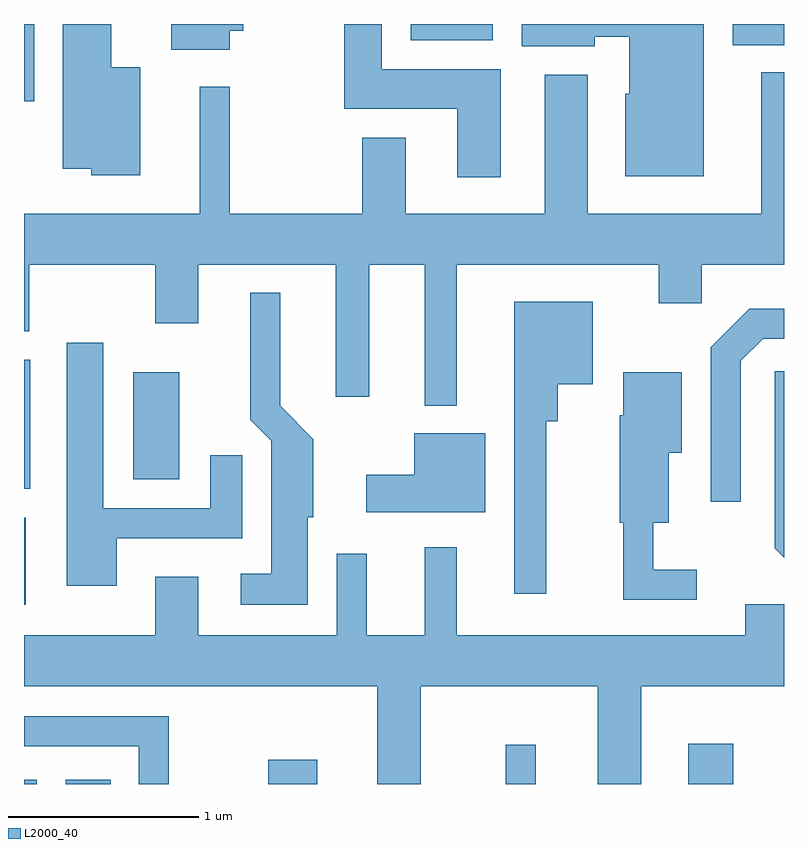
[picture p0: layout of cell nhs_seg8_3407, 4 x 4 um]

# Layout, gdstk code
import gdstk
lib = gdstk.Library(unit=1e-6, precision=1e-09)
def R(c, l, rs):  # rectangles x0, y0, x1, y1
    for r in rs: c.add(gdstk.rectangle(r[:2], r[2:], *l))
def P(c, l, *ps):  # polygons
    for p in ps: c.add(gdstk.Polygon(p, *l))
L2000_40 = (2000, 40)

nhs_seg8_3407 = lib.new_cell('nhs_seg8_3407')
R(nhs_seg8_3407, L2000_40, [(287.611,1840.342,287.679,1840.364), (287.831,1840.342,288.068,1840.364), (288.896,1840.342,289.154,1840.469), (290.146,1840.342,290.304,1840.548), (291.106,1840.342,291.344,1840.554), (287.611,1841.286,287.619,1841.744), (287.611,1841.896,287.644,1842.574), (288.186,1841.946,288.429,1842.509), (287.611,1843.936,287.664,1844.342), (291.341,1844.231,291.611,1844.342), (289.646,1844.256,290.079,1844.342)])
P(nhs_seg8_3407, L2000_40, [(291.189,1844.342),(290.231,1844.342),(290.231,1844.226),(290.614,1844.226),(290.614,1844.276),(290.796,1844.276),(290.796,1843.974),(290.776,1843.974),(290.776,1843.541),(291.189,1843.541)],
  [(288.224,1844.114),(288.069,1844.114),(288.069,1844.342),(287.816,1844.342),(287.816,1843.581),(287.966,1843.581),(287.966,1843.546),(288.224,1843.546)],
  [(290.119,1844.104),(289.494,1844.104),(289.494,1844.342),(289.296,1844.342),(289.296,1843.896),(289.891,1843.896),(289.891,1843.536),(290.119,1843.536)],
  [(288.694,1844.306),(288.764,1844.306),(288.764,1844.342),(288.386,1844.342),(288.386,1844.206),(288.694,1844.206)],
  [(289.889,1843.076),(290.951,1843.076),(290.951,1842.871),(291.179,1842.871),(291.179,1843.076),(291.611,1843.076),(291.611,1844.088),(291.491,1844.088),(291.491,1843.344),(290.579,1843.344),(290.579,1844.074),(290.351,1844.074),(290.351,1843.344),(289.619,1843.344),(289.619,1843.744),(289.391,1843.744),(289.391,1843.344),(288.694,1843.344),(288.694,1844.013),(288.536,1844.013),(288.536,1843.344),(287.611,1843.344),(287.611,1842.726),(287.639,1842.726),(287.639,1843.076),(288.301,1843.076),(288.301,1842.766),(288.529,1842.766),(288.529,1843.076),(289.251,1843.076),(289.251,1842.381),(289.429,1842.381),(289.429,1843.076),(289.721,1843.076),(289.721,1842.333),(289.889,1842.333)],
  [(289.104,1841.746),(289.134,1841.746),(289.134,1842.157),(288.959,1842.332),(288.959,1842.928),(288.801,1842.928),(288.801,1842.259),(288.911,1842.149),(288.911,1841.449),(288.753,1841.449),(288.753,1841.286),(289.104,1841.286)],
  [(290.359,1842.251),(290.419,1842.251),(290.419,1842.446),(290.604,1842.446),(290.604,1842.879),(290.191,1842.879),(290.191,1841.343),(290.359,1841.343)],
  [(291.384,1842.569),(291.502,1842.686),(291.611,1842.686),(291.611,1842.844),(291.429,1842.844),(291.226,1842.642),(291.226,1841.828),(291.384,1841.828)],
  [(288.099,1841.636),(288.759,1841.636),(288.759,1842.073),(288.591,1842.073),(288.591,1841.794),(288.029,1841.794),(288.029,1842.664),(287.836,1842.664),(287.836,1841.386),(288.099,1841.386)],
  [(291.611,1842.514),(291.561,1842.514),(291.561,1841.584),(291.611,1841.534)],
  [(291.153,1841.469),(290.924,1841.469),(290.924,1841.716),(291.004,1841.716),(291.004,1842.086),(291.074,1842.086),(291.074,1842.509),(290.766,1842.509),(290.766,1842.284),(290.746,1842.284),(290.746,1841.716),(290.766,1841.716),(290.766,1841.311),(291.153,1841.311)],
  [(290.039,1842.189),(289.666,1842.189),(289.666,1841.969),(289.411,1841.969),(289.411,1841.771),(290.039,1841.771)],
  [(289.889,1841.588),(289.721,1841.588),(289.721,1841.124),(289.414,1841.124),(289.414,1841.553),(289.256,1841.553),(289.256,1841.124),(288.529,1841.124),(288.529,1841.434),(288.301,1841.434),(288.301,1841.124),(287.611,1841.124),(287.611,1840.856),(289.471,1840.856),(289.471,1840.342),(289.699,1840.342),(289.699,1840.856),(290.631,1840.856),(290.631,1840.342),(290.859,1840.342),(290.859,1840.856),(291.611,1840.856),(291.611,1841.289),(291.406,1841.289),(291.406,1841.124),(289.889,1841.124)],
  [(288.374,1840.699),(287.611,1840.699),(287.611,1840.541),(288.216,1840.541),(288.216,1840.342),(288.374,1840.342)])

lib.write_gds('nhs_seg8_3407.gds')
